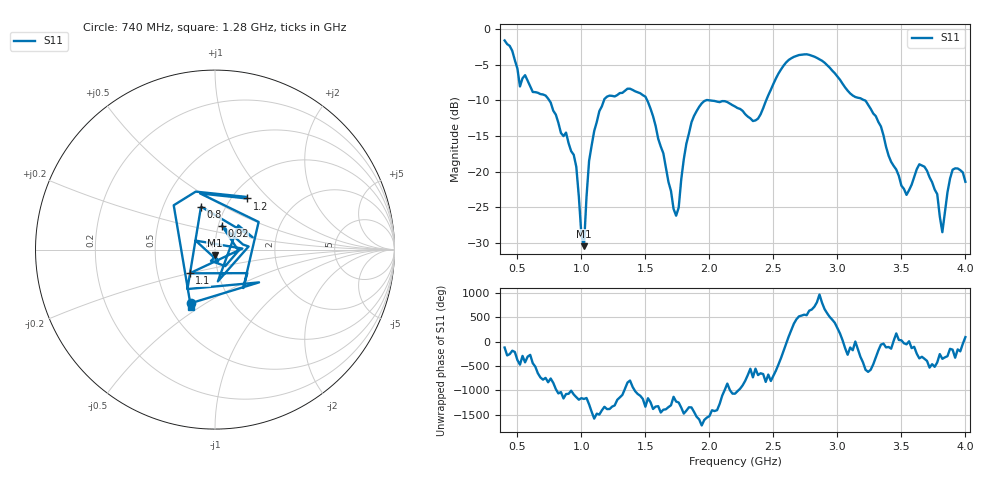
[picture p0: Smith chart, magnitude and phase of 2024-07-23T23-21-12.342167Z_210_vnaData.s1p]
!Created with skrf (http://scikit-rf.org).
# Hz S RI R 50.0
!freq ReS11 ImS11
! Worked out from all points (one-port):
!   181 points, 400 MHz to 4 GHz, reference 50 ohm
!   lowest |S11| = -30.5 dB at 1.02 GHz (marker M1), VSWR 1.06, Z = 49.7 - j2.97 ohm
!   |S11| at or under -10 dB: 1.514 GHz to 1.972 GHz (457.1 MHz wide, 26.2 % of centre); 2.008 GHz to 2.443 GHz (435 MHz wide, 19.5 % of centre); 3.215 GHz to end of sweep (the widest 3 of 4)
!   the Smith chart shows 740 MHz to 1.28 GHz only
!   S11 on the Smith chart (normalised r, x): 740 MHz: 0.65, -0.43; 800 MHz: 0.77, +0.39; 920 MHz: 1.04, +0.28; 1.1 GHz: 0.73, -0.20; 1.2 GHz: 1.17, +0.75; 1.28 GHz: 0.63, -0.46
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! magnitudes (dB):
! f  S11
! 400 MHz  -1.6
! 520 MHz  -8.0
! 740 MHz  -9.7
! 800 MHz  -12.0
! 860 MHz  -15.0
! 920 MHz  -17.1
! 960 MHz  -19.3
! 1.02 GHz  -30.5
! 1.06 GHz  -18.5
! 1.1 GHz  -14.3
! 1.2 GHz  -9.5
! 1.28 GHz  -9.2
! 1.3 GHz  -9.0
! 1.5 GHz  -9.5
! 1.76 GHz  -25.1
! 1.82 GHz  -16.1
! 1.9 GHz  -11.5
! 2.2 GHz  -10.8
! 2.38 GHz  -12.6
! 2.66 GHz  -3.9
! 3.1 GHz  -9.0
! 3.3 GHz  -12.2
! 3.56 GHz  -22.6
! 3.68 GHz  -19.3
! 3.78 GHz  -23.2
! 3.82 GHz  -28.5
! 3.9 GHz  -19.7
! 4 GHz  -21.4
